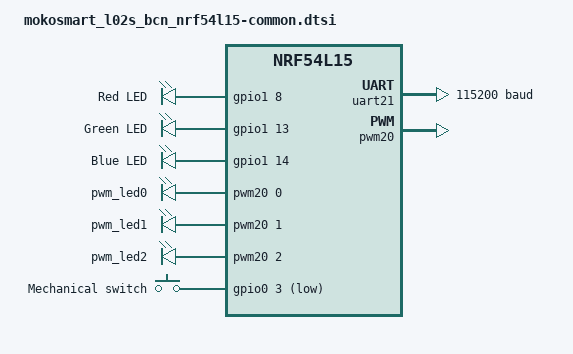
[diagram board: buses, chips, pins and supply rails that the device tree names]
/*
 * Copyright (c) 2024 Nordic Semiconductor ASA
 *
 * SPDX-License-Identifier: Apache-2.0
 */

#include "mokosmart_l02s_bcn_nrf54l15-pinctrl.dtsi"

/ {
	leds {
		compatible = "gpio-leds";
		led0: led_0 {
			gpios = <&gpio1 8 GPIO_ACTIVE_HIGH>;
			label = "Red LED";
		};
		led1: led_1 {
			gpios = <&gpio1 13 GPIO_ACTIVE_HIGH>;
			label = "Green LED";
		};
		led2: led_2 {
			gpios = <&gpio1 14 GPIO_ACTIVE_HIGH>;
			label = "Blue LED";
		};
	};

	pwmleds {
		compatible = "pwm-leds";
		pwm_led0: pwm_led_0 {
			pwms = <&pwm20 0 PWM_MSEC(20) 0>;
		};
		pwm_led1: pwm_led_1 {
			pwms = <&pwm20 1 PWM_MSEC(20) 0>;
		};
		pwm_led2: pwm_led_2 {
			pwms = <&pwm20 2 PWM_MSEC(20) 0>;
		};
	};

	buttons {
		compatible = "gpio-keys";
		button0: button_0 {
			gpios = <&gpio0 3 (GPIO_PULL_UP | GPIO_ACTIVE_LOW)>;
			label = "Mechanical switch";
			zephyr,code = <INPUT_KEY_0>;
		};
	};

	aliases {
		led0 = &led0;
		led1 = &led1;
		led2 = &led2;
		pwm-led0 = &pwm_led0;
		pwm-led1 = &pwm_led1;
		pwm-led2 = &pwm_led2;
		sw0 = &button0;
		watchdog0 = &wdt31;
		accel0 = &lis2dh12;
	};
};

&uart21 {
	current-speed = <115200>;
	pinctrl-0 = <&uart21_default>;
	pinctrl-1 = <&uart21_sleep>;
	pinctrl-names = "default", "sleep";
};

&pwm20 {
	status = "okay";
	pinctrl-0 = <&pwm20_default>;
	pinctrl-1 = <&pwm20_sleep>;
	pinctrl-names = "default", "sleep";
};
